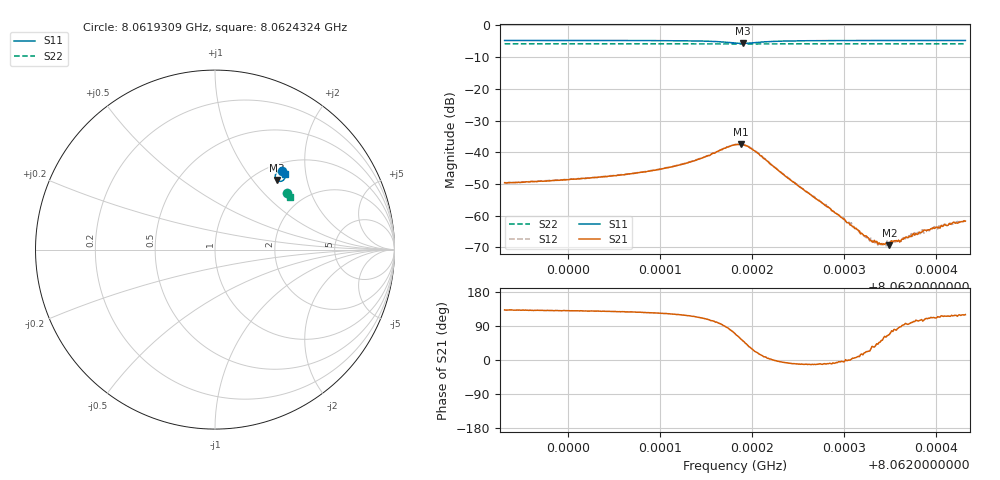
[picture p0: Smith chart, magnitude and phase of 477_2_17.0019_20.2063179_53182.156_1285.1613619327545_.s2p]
#  HZ  S  RI  R  50.00
! Rohde & Schwarz Vector Network Analyzer
! Rohde-Schwarz,ZNB20-2Port,1311601062101988,3.16
! Created: UTC 3/20/2024, 11:13:25 PM
! freq[Hz]  re:S11  im:S11  re:S21  im:S21  re:S12  im:S12  re:S22  im:S22
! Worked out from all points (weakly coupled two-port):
!   401 points, 8.0619309 GHz to 8.0624324 GHz, reference 50 ohm
!   highest |S21| = -37.49 dB at 8.0621879 GHz (marker M1); lowest = -69.3 dB at 8.0623496 GHz (marker M2)
!   lowest |S11| = -5.7 dB at 8.0621904 GHz (marker M3), VSWR 3.15, Z = 62.9 + j66.7 ohm
!   |S11| at or under -10 dB: nowhere
!   |S22| runs from -5.9 to -5.8 dB; largest |S21 - S12| = 0.00094
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8.06193093e9  0.3725 0.4394  -0.00222 0.00246  -0.00204 0.00259  0.4014 0.3154
8.06201492e9  0.3789 0.4334  -0.00246 0.00296  -0.00228 0.00314  0.4045 0.3112
8.06206131e9  0.383 0.4288  -0.00269 0.00351  -0.00249 0.0037  0.4062 0.3086
8.06209891e9  0.3868 0.4232  -0.00297 0.00445  -0.0027 0.00469  0.4076 0.3065
8.06213527e9  0.3904 0.4125  -0.00308 0.00652  -0.00271 0.00675  0.4089 0.3043
8.06218165e9  0.3618 0.3802  0.00459 0.0124  0.00531 0.0121  0.4087 0.301
8.06218792e9  0.3484 0.3842  0.00756 0.011  0.00811 0.0106  0.4083 0.3012
8.06219042e9  0.3437 0.3878  0.00848 0.0102  0.00901 0.00954  0.4082 0.3012
8.06220296e9  0.3357 0.4125  0.0097 0.00412  0.0101 0.00373  0.4086 0.3018
8.06223305e9  0.3573 0.4349  0.00459 -0.000468  0.00462 -0.000738  0.4111 0.3012
8.06226564e9  0.3709 0.4346  0.002 -0.000398  0.00201 -0.000556  0.4126 0.2992
8.06230575e9  0.3789 0.4315  0.000764 5.17e-07  0.00079 -5.43e-05  0.4143 0.2971
8.06232581e9  0.3815 0.4301  0.000419 0.000172  0.000443 0.000142  0.415 0.2961
8.06233082e9  0.382 0.4297  0.000314 0.000228  0.000355 0.000237  0.4152 0.2958
8.06234336e9  0.3835 0.4288  0.000187 0.000308  0.000199 0.000283  0.4156 0.2952
8.06234963e9  0.3842 0.4285  0.000132 0.000318  0.000175 0.000334  0.4158 0.2949
8.06236342e9  0.3856 0.4275  -7.98e-06 0.000429  7.16e-05 0.000387  0.4164 0.2943
8.0623747e9  0.3865 0.4268  -8.06e-05 0.000497  -4.35e-05 0.000472  0.4168 0.2933
8.06238974e9  0.388 0.4258  -0.000198 0.000554  -0.000132 0.000548  0.4175 0.2927
8.06239852e9  0.3886 0.4252  -0.000233 0.000585  -0.000198 0.000645  0.4177 0.2924
8.06242359e9  0.3905 0.4236  -0.000328 0.000689  -0.000314 0.00075  0.4186 0.291
8.06243236e9  0.3912 0.423  -0.000409 0.000715  -0.000335 0.000733  0.419 0.2906
